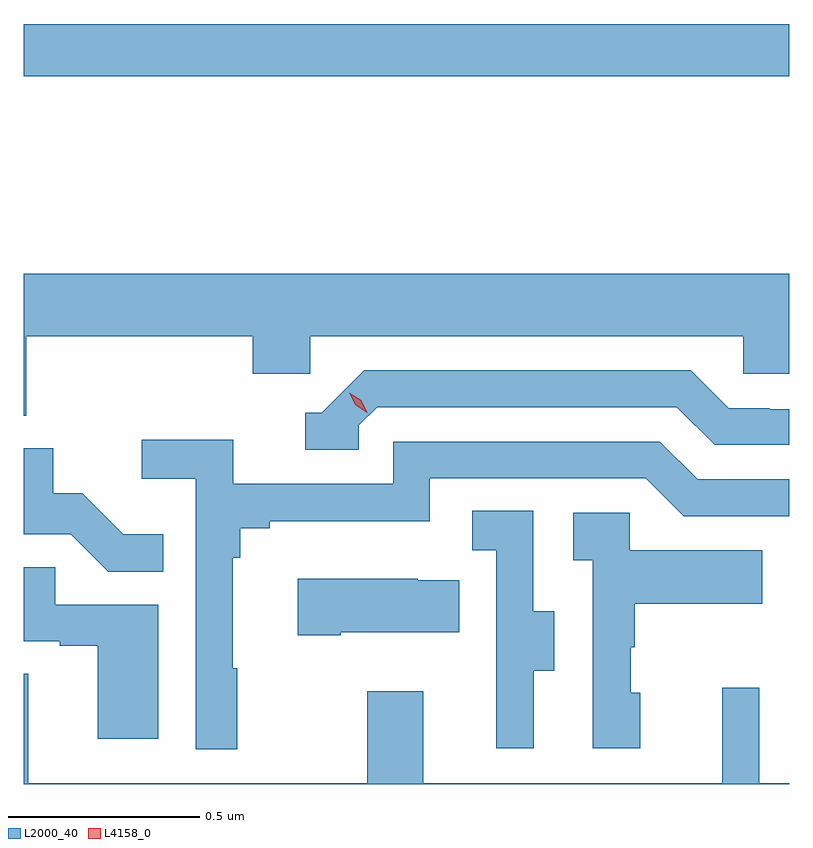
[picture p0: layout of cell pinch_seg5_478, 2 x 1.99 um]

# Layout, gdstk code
import gdstk
lib = gdstk.Library(unit=1e-6, precision=1e-09)
def R(c, l, rs):  # rectangles x0, y0, x1, y1
    for r in rs: c.add(gdstk.rectangle(r[:2], r[2:], *l))
def P(c, l, *ps):  # polygons
    for p in ps: c.add(gdstk.Polygon(p, *l))
L2000_40 = (2000, 40)
L4158_0 = (4158, 0)

pinch_seg5_478 = lib.new_cell('pinch_seg5_478')
R(pinch_seg5_478, L2000_40, [(913.069,858.772,915.069,858.908)])
P(pinch_seg5_478, L2000_40, [(913.076,858.092),(913.667,858.092),(913.667,857.994),(913.818,857.994),(913.818,858.092),(914.949,858.092),(914.949,857.994),(915.069,857.994),(915.069,858.256),(913.069,858.256),(913.069,857.884),(913.076,857.884)],
  [(913.944,857.859),(913.992,857.907),(914.775,857.907),(914.874,857.808),(915.069,857.808),(915.069,857.901),(915.018,857.901),(915.018,857.904),(914.911,857.904),(914.812,858.003),(913.959,858.003),(913.848,857.892),(913.805,857.892),(913.805,857.796),(913.944,857.796)],
  [(913.627,857.225),(913.615,857.225),(913.615,857.513),(913.634,857.513),(913.634,857.59),(913.711,857.59),(913.711,857.609),(914.13,857.609),(914.13,857.721),(914.694,857.721),(914.793,857.622),(915.069,857.622),(915.069,857.718),(914.83,857.718),(914.731,857.817),(914.034,857.817),(914.034,857.706),(913.616,857.706),(913.616,857.822),(913.377,857.822),(913.377,857.72),(913.518,857.72),(913.518,857.013),(913.627,857.013)],
  [(913.433,857.575),(913.329,857.575),(913.222,857.682),(913.146,857.682),(913.146,857.799),(913.069,857.799),(913.069,857.574),(913.191,857.574),(913.289,857.476),(913.433,857.476)],
  [(914.401,857.218),(914.455,857.218),(914.455,857.373),(914.4,857.373),(914.4,857.636),(914.241,857.636),(914.241,857.533),(914.304,857.533),(914.304,857.229),(914.303,857.229),(914.303,857.016),(914.401,857.016)],
  [(914.68,857.16),(914.655,857.16),(914.655,857.279),(914.665,857.279),(914.665,857.393),(914.999,857.393),(914.999,857.533),(914.652,857.533),(914.652,857.631),(914.505,857.631),(914.505,857.507),(914.556,857.507),(914.556,857.016),(914.68,857.016)],
  [(913.42,857.391),(913.151,857.391),(913.151,857.489),(913.069,857.489),(913.069,857.295),(913.163,857.295),(913.163,857.283),(913.262,857.283),(913.262,857.04),(913.42,857.04)],
  [(913.897,857.318),(914.207,857.318),(914.207,857.455),(914.099,857.455),(914.099,857.458),(913.785,857.458),(913.785,857.311),(913.897,857.311)],
  [(915.069,856.924),(914.991,856.924),(914.991,857.173),(914.894,857.173),(914.894,856.924),(914.113,856.924),(914.113,857.164),(913.966,857.164),(913.966,856.924),(913.081,856.924),(913.081,857.21),(913.069,857.21),(913.069,856.922),(915.069,856.922)])
P(pinch_seg5_478, L4158_0, [(913.966,857.892),(913.936,857.912),(913.92,857.944),(913.92,857.945),(913.92,857.945),(913.951,857.925),(913.967,857.892),(913.967,857.892)])

lib.write_gds('pinch_seg5_478.gds')
